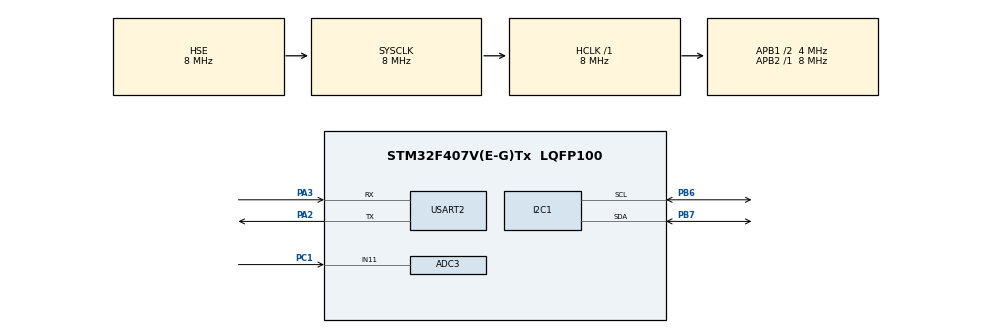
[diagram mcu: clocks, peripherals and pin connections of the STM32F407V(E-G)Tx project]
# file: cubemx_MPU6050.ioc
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ADC3.Channel-0\#ChannelRegularConversion=ADC_CHANNEL_11
ADC3.NbrOfConversionFlag=1
ADC3.Rank-0\#ChannelRegularConversion=1
ADC3.SamplingTime-0\#ChannelRegularConversion=ADC_SAMPLETIME_3CYCLES
Mcu.Family=STM32F4
Mcu.Name=STM32F407V(E-G)Tx
Mcu.Package=LQFP100
NVIC.I2C1_ER_IRQn=true\:0\:0\:false\:true\:true\:2\:true\:true\:true
NVIC.I2C1_EV_IRQn=true\:0\:0\:false\:true\:true\:3\:true\:true\:true
NVIC.PriorityGroup=NVIC_PRIORITYGROUP_4
NVIC.TIM7_IRQn=true\:0\:0\:false\:true\:true\:1\:true\:true\:true
NVIC.USART2_IRQn=true\:0\:0\:false\:true\:true\:4\:true\:true\:true
PA2.Mode=Asynchronous
PA2.Signal=USART2_TX
PA3.Mode=Asynchronous
PA3.Signal=USART2_RX
PB6.Mode=I2C
PB6.Signal=I2C1_SCL
PB7.Mode=I2C
PB7.Signal=I2C1_SDA
PC1.Signal=ADCx_IN11
PH0-OSC_IN.Mode=HSE-External-Oscillator
PH0-OSC_IN.Signal=RCC_OSC_IN
PH1-OSC_OUT.Mode=HSE-External-Oscillator
PH1-OSC_OUT.Signal=RCC_OSC_OUT
ProjectManager.HeapSize=0x200
ProjectManager.StackSize=0x400
ProjectManager.TargetToolchain=STM32CubeIDE
RCC.48MHZClocksFreq_Value=25000000
RCC.AHBFreq_Value=8000000
RCC.APB1CLKDivider=RCC_HCLK_DIV2
RCC.APB1Freq_Value=4000000
RCC.APB1TimFreq_Value=8000000
RCC.APB2Freq_Value=8000000
RCC.APB2TimFreq_Value=8000000
RCC.CortexFreq_Value=8000000
RCC.HCLKFreq_Value=8000000
RCC.HSE_VALUE=8000000
RCC.HSI_VALUE=16000000
RCC.LSE_VALUE=32768
RCC.PLLM=4
RCC.PLLN=50
RCC.PLLSourceVirtual=RCC_PLLSOURCE_HSE
RCC.SYSCLKFreq_VALUE=8000000
RCC.SYSCLKSource=RCC_SYSCLKSOURCE_HSE
RCC.VCOOutputFreq_Value=100000000
SH.ADCx_IN11.0=ADC3_IN11,IN11
TIM7.AutoReloadPreload=TIM_AUTORELOAD_PRELOAD_ENABLE
TIM7.Period=300
TIM7.Prescaler=9000
USART2.VirtualMode=VM_ASYNC
VP_TIM7_VS_ClockSourceINT.Mode=Enable_Timer
board=custom

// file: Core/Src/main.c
/* USER CODE BEGIN Header */
/**
  ******************************************************************************
  * @file           : main.c
  * @brief          : Main program body
  ******************************************************************************
  * @attention
  *
  * Copyright (c) 2024 STMicroelectronics.
  * All rights reserved.
  *
  * This software is licensed under terms that can be found in the LICENSE file
  * in the root directory of this software component.
  * If no LICENSE file comes with this software, it is provided AS-IS.
  *
  ******************************************************************************
  */
/* USER CODE END Header */
#include "main.h"

/* USER CODE BEGIN Includes */
// Keep this location for below header files. IF not, header files can be erased
// during CubMX code generation.
#include "i2c.h"
// After CubeMX code generation, please delete MX_I2C1_Init(). Because i2C.h already has it.
#include "MPU9250_2.h"
#include "mpu9250.h"
#include <stdio.h>
/* USER CODE END Includes */

ADC_HandleTypeDef hadc3;

I2C_HandleTypeDef hi2c1;

TIM_HandleTypeDef htim7;

UART_HandleTypeDef huart2;

void SystemClock_Config(void);
static void MX_GPIO_Init(void);
static void MX_I2C1_Init(void);
static void MX_TIM7_Init(void);
static void MX_USART2_UART_Init(void);
static void MX_ADC3_Init(void);
static void MX_NVIC_Init(void);

int main(void)
{

  /* MCU Configuration--------------------------------------------------------*/

  /* Reset of all peripherals, Initializes the Flash interface and the Systick. */
  HAL_Init();

  /* Configure the system clock */
  SystemClock_Config();

  /* Initialize all configured peripherals */
  MX_GPIO_Init();
  MX_I2C1_Init();
  MX_TIM7_Init();
  MX_USART2_UART_Init();
  MX_ADC3_Init();

  /* Initialize interrupts */
  MX_NVIC_Init();
  /* USER CODE BEGIN 2 */
  MPU9250_t mpu9250;
  MPU9250_Init(&hi2c1);

  /* USER CODE END 2 */

  /* Infinite loop */
  /* USER CODE BEGIN WHILE */
  while (1)
  {
	MPU9250_Read_All(&hi2c1, &mpu9250);
	HAL_Delay(500);
	printf("pitch: %lf roll: %lf yaw: %lf \r\n", mpu9250.KalmanAngleX, mpu9250.KalmanAngleY, mpu9250.KalmanAngleZ);
    /* USER CODE END WHILE */

  }
}

void SystemClock_Config(void)
{
  RCC_OscInitTypeDef RCC_OscInitStruct = {0};
  RCC_ClkInitTypeDef RCC_ClkInitStruct = {0};

  /** Configure the main internal regulator output voltage
  */
  __HAL_RCC_PWR_CLK_ENABLE();
  __HAL_PWR_VOLTAGESCALING_CONFIG(PWR_REGULATOR_VOLTAGE_SCALE1);

  /** Initializes the RCC Oscillators according to the specified parameters
  * in the RCC_OscInitTypeDef structure.
  */
  RCC_OscInitStruct.OscillatorType = RCC_OSCILLATORTYPE_HSE;
  RCC_OscInitStruct.HSEState = RCC_HSE_ON;
  RCC_OscInitStruct.PLL.PLLState = RCC_PLL_NONE;
  if (HAL_RCC_OscConfig(&RCC_OscInitStruct) != HAL_OK)
  {
    Error_Handler();
  }

  /** Initializes the CPU, AHB and APB buses clocks
  */
  RCC_ClkInitStruct.ClockType = RCC_CLOCKTYPE_HCLK|RCC_CLOCKTYPE_SYSCLK
                              |RCC_CLOCKTYPE_PCLK1|RCC_CLOCKTYPE_PCLK2;
  RCC_ClkInitStruct.SYSCLKSource = RCC_SYSCLKSOURCE_HSE;
  RCC_ClkInitStruct.AHBCLKDivider = RCC_SYSCLK_DIV1;
  RCC_ClkInitStruct.APB1CLKDivider = RCC_HCLK_DIV2;
  RCC_ClkInitStruct.APB2CLKDivider = RCC_HCLK_DIV1;

  if (HAL_RCC_ClockConfig(&RCC_ClkInitStruct, FLASH_LATENCY_0) != HAL_OK)
  {
    Error_Handler();
  }
}

/**
  * @brief NVIC Configuration.
  * @retval None
  */
static void MX_NVIC_Init(void)
{
  /* TIM7_IRQn interrupt configuration */
  HAL_NVIC_SetPriority(TIM7_IRQn, 0, 0);
  HAL_NVIC_EnableIRQ(TIM7_IRQn);
  /* I2C1_ER_IRQn interrupt configuration */
  HAL_NVIC_SetPriority(I2C1_ER_IRQn, 0, 0);
  HAL_NVIC_EnableIRQ(I2C1_ER_IRQn);
  /* I2C1_EV_IRQn interrupt configuration */
  HAL_NVIC_SetPriority(I2C1_EV_IRQn, 0, 0);
  HAL_NVIC_EnableIRQ(I2C1_EV_IRQn);
  /* USART2_IRQn interrupt configuration */
  HAL_NVIC_SetPriority(USART2_IRQn, 0, 0);
  HAL_NVIC_EnableIRQ(USART2_IRQn);
}

static void MX_ADC3_Init(void)
{

  ADC_ChannelConfTypeDef sConfig = {0};

  /** Configure the global features of the ADC (Clock, Resolution, Data Alignment and number of conversion)
  */
  hadc3.Instance = ADC3;
  hadc3.Init.ClockPrescaler = ADC_CLOCK_SYNC_PCLK_DIV2;
  hadc3.Init.Resolution = ADC_RESOLUTION_12B;
  hadc3.Init.ScanConvMode = DISABLE;
  hadc3.Init.ContinuousConvMode = DISABLE;
  hadc3.Init.DiscontinuousConvMode = DISABLE;
  hadc3.Init.ExternalTrigConvEdge = ADC_EXTERNALTRIGCONVEDGE_NONE;
  hadc3.Init.ExternalTrigConv = ADC_SOFTWARE_START;
  hadc3.Init.DataAlign = ADC_DATAALIGN_RIGHT;
  hadc3.Init.NbrOfConversion = 1;
  hadc3.Init.DMAContinuousRequests = DISABLE;
  hadc3.Init.EOCSelection = ADC_EOC_SINGLE_CONV;
  if (HAL_ADC_Init(&hadc3) != HAL_OK)
  {
    Error_Handler();
  }

  /** Configure for the selected ADC regular channel its corresponding rank in the sequencer and its sample time.
  */
  sConfig.Channel = ADC_CHANNEL_11;
  sConfig.Rank = 1;
  sConfig.SamplingTime = ADC_SAMPLETIME_3CYCLES;
  if (HAL_ADC_ConfigChannel(&hadc3, &sConfig) != HAL_OK)
  {
    Error_Handler();
  }

}

static void MX_TIM7_Init(void)
{

  TIM_MasterConfigTypeDef sMasterConfig = {0};

  htim7.Instance = TIM7;
  htim7.Init.Prescaler = 9000;
  htim7.Init.CounterMode = TIM_COUNTERMODE_UP;
  htim7.Init.Period = 300;
  htim7.Init.AutoReloadPreload = TIM_AUTORELOAD_PRELOAD_ENABLE;
  if (HAL_TIM_Base_Init(&htim7) != HAL_OK)
  {
    Error_Handler();
  }
  sMasterConfig.MasterOutputTrigger = TIM_TRGO_RESET;
  sMasterConfig.MasterSlaveMode = TIM_MASTERSLAVEMODE_DISABLE;
  if (HAL_TIMEx_MasterConfigSynchronization(&htim7, &sMasterConfig) != HAL_OK)
  {
    Error_Handler();
  }

}

static void MX_USART2_UART_Init(void)
{

  huart2.Instance = USART2;
  huart2.Init.BaudRate = 115200;
  huart2.Init.WordLength = UART_WORDLENGTH_8B;
  huart2.Init.StopBits = UART_STOPBITS_1;
  huart2.Init.Parity = UART_PARITY_NONE;
  huart2.Init.Mode = UART_MODE_TX_RX;
  huart2.Init.HwFlowCtl = UART_HWCONTROL_NONE;
  huart2.Init.OverSampling = UART_OVERSAMPLING_16;
  if (HAL_UART_Init(&huart2) != HAL_OK)
  {
    Error_Handler();
  }

}

static void MX_GPIO_Init(void)
{

  /* GPIO Ports Clock Enable */
  __HAL_RCC_GPIOH_CLK_ENABLE();
  __HAL_RCC_GPIOC_CLK_ENABLE();
  __HAL_RCC_GPIOA_CLK_ENABLE();
  __HAL_RCC_GPIOB_CLK_ENABLE();

}

/* USER CODE BEGIN 4 */
void HAL_TIM_PeriodElapsedCallback(TIM_HandleTypeDef *htim)
{
  if (htim == &htim7) {
    HAL_GPIO_TogglePin(GPIOD, GPIO_PIN_13);
  }
}

int __io_putchar (int ch)
{
  (void)HAL_UART_Transmit(&huart2, (uint8_t *)&ch, 1, 100);
  return ch;
}

/* USER CODE END 4 */

void Error_Handler(void)
{
  __disable_irq();
  while (1)
  {
  }
}
